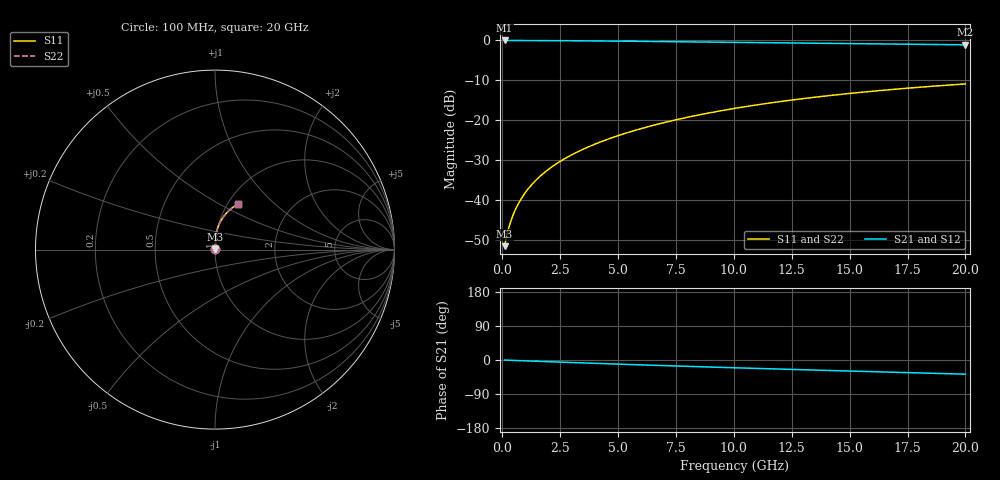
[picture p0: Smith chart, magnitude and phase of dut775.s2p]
! Touchstone file exported from HFSS 2024.1.0
!  File:  C:/UserFiles/LocalFiles/RDL_TSV_Batchsim/temp_RDL_bottom_775_1779860801.aedt
!  Generated:  01:49:07 PM May 27, 2026
!  Design:  RDL_bottom
!  Project:  temp_RDL_bottom_775_1779860801
!  Setup:  Setup1
!  Solution:  Sweep
! Variables:
!  dtsv = 10.80580581um
!  hbump = 3um
!  htsv = 81.85um
!  ldown = 578.44um
!  lrdl = 100um
!  p = 40
!  p1 = 43.85um
!  rhole = 1um
!  t = 450um
!  tdown = 4.12um
!  trdl = 3.915915916um
!  wdown = 24.31um
!  wrdl = 20um
# GHz S MA R 50.000000
! Terminal data exported
! Port[1] = RDL1_T1
! Port[2] = RDL1_T2
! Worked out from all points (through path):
!   200 points, 100 MHz to 20 GHz, reference 50 ohm
!   highest |S21| = -0.02 dB at 100 MHz (marker M1); lowest = -1.1 dB at 20 GHz (marker M2)
!   group delay of S21, straight-line fit = 5.13 ps
!   lowest |S11| = -51.4 dB at 100 MHz (marker M3), VSWR 1.01, Z = 50.2 + j0.144 ohm
!   |S11| at or under -10 dB: start of sweep to end of sweep
!   |S22| runs from -51.4 to -10.9 dB; largest |S21 - S12| = 5.1e-15
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0.1  0.00268 32.4  0.9977 -0.2  0.9977 -0.2  0.00268 32.4
! Gamma 0 0 0 0
! Port Impedance 50 0 50 0
0.2  0.003684 48.9  0.9975 -0.5  0.9975 -0.5  0.003684 48.9
0.3  0.004773 57.3  0.9973 -0.7  0.9973 -0.7  0.004773 57.3
0.4  0.005862 62.6  0.9971 -0.9  0.9971 -0.9  0.005862 62.6
0.5  0.006952 66.5  0.997 -1.2  0.997 -1.2  0.006953 66.5
0.6  0.008052 69.4  0.9968 -1.4  0.9968 -1.4  0.008053 69.4
0.8  0.01029 73.8  0.9965 -1.8  0.9965 -1.8  0.01029 73.8
1.1  0.01374 77.9  0.996 -2.5  0.996 -2.5  0.01374 77.9
1.3  0.01609 79.7  0.9955 -2.9  0.9955 -2.9  0.01609 79.7
1.6  0.01967 81.7  0.9948 -3.6  0.9948 -3.6  0.01967 81.7
2.1  0.02577 83.9  0.9933 -4.7  0.9933 -4.7  0.02577 83.9
2.7  0.03331 85.4  0.9909 -6.0  0.9909 -6.0  0.03331 85.4
3.5  0.04374 86.5  0.9872 -7.8  0.9872 -7.8  0.04373 86.5
4.2  0.05322 86.9  0.9834 -9.2  0.9834 -9.2  0.05321 86.9
5  0.06444 86.9  0.9787 -10.9  0.9787 -10.9  0.06443 86.9
6.8  0.09101 85.6  0.967 -14.5  0.967 -14.5  0.09099 85.6
8.4  0.1157 83.6  0.9562 -17.5  0.9562 -17.5  0.1156 83.6
10.1  0.1423 81.0  0.9446 -20.6  0.9446 -20.6  0.1423 80.9
11.7  0.1673 78.2  0.9338 -23.5  0.9338 -23.5  0.1672 78.1
13.4  0.1934 75.1  0.9225 -26.5  0.9225 -26.5  0.1933 75.0
16.7  0.2415 69.0  0.9009 -32.0  0.9009 -32.0  0.2415 68.9
20  0.2856 63.0  0.8799 -37.4  0.8799 -37.4  0.2855 63.0
